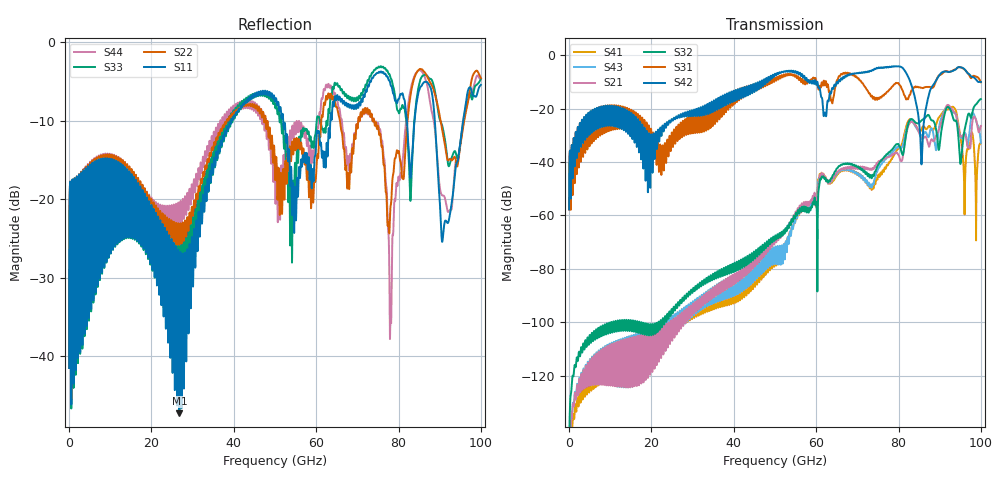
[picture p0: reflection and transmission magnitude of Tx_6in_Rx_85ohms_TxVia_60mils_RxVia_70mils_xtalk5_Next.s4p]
! Info: Touchstone file created by Circ.  Input file=Tx_6in_Rx_85ohms_TxVia_60mils_RxVia_70mils.circ
# Hz S RI R 50
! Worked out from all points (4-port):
!   10000 points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, 10 MHz to 100 GHz, reference 50 ohm
!   strongest paths, dB at 10 MHz, 25.01 GHz, 50.01 GHz, 75.01 GHz, 100 GHz:
!     S42: -57.7, -24.1, -6.9, -4.8, -10.0
!     S31: -57.8, -29.1, -8.4, -15.9, -10.1
!     S32: -156.5, -95.5, -68.0, -41.1, -16.4
!     S21: -167.2, -106.6, -69.3, -40.2, -26.5
!     S43: -158.0, -106.1, -73.2, -42.6, -32.8
!     S41: -158.3, -103.4, -74.7, -45.3, -32.9
!   lowest |S11| = -47.2 dB at 26.78 GHz (marker M1), VSWR 1.01, Z = 50.3 + j0.313 ohm
!   |S11| at or under -10 dB: start of sweep to 39.42 GHz; 52 GHz to 63.42 GHz (11.43 GHz wide, 19.8 % of centre); 88.81 GHz to 95.73 GHz (6.921 GHz wide, 7.5 % of centre) (the widest 3 of 4)
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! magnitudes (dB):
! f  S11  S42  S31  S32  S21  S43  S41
! 10 MHz  -41.5  -57.7  -57.8  -156.5  -167.2  -158.0  -158.3
! 6.51 GHz  -20.8  -27.8  -31.4  -103.4  -115.8  -115.1  -121.7
! 26.78 GHz  -47.2  -23.2  -30.0  -93.6  -98.9  -97.0  -98.5
! 63.19 GHz  -11.9  -15.4  -13.6  -46.9  -47.3  -47.6  -47.5
! 78.1 GHz  -5.5  -4.4  -12.4  -35.7  -37.6  -36.9  -39.3
! 85.56 GHz  -5.6  -40.8  -12.2  -24.5  -31.2  -30.1  -27.8
! 100 GHz  -5.5  -10.0  -10.1  -16.4  -26.5  -32.8  -32.9
